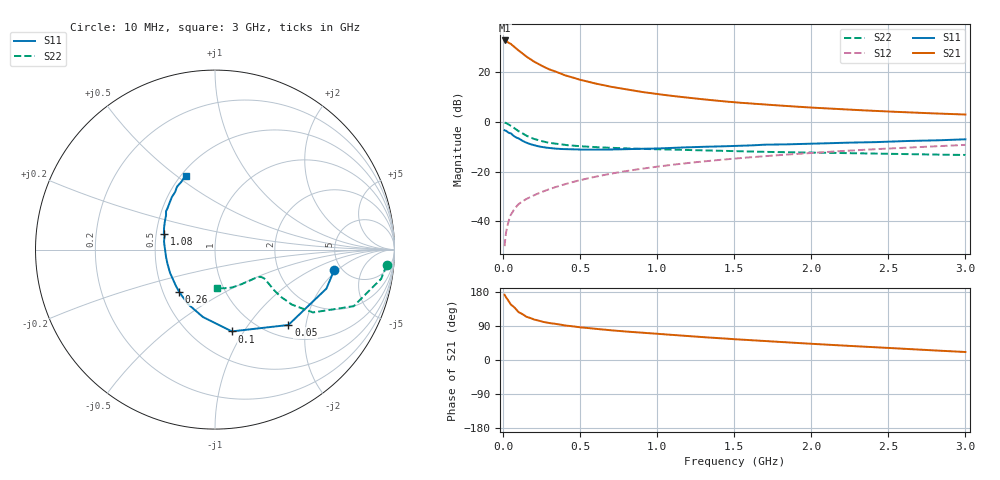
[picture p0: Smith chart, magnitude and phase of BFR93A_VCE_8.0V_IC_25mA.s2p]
! Infineon Technologies  Discrete & RF Semiconductors
! BFR93A
! VCE =  8.0 V,  IC =  25 mA
! Common Emitter S-Parameters:  Nov 2015
# GHz  S  MA  R  50
!  f  S11  S21  S12  S22
! GHz  MAG  ANG  MAG  ANG  MAG  ANG  MAG  ANG
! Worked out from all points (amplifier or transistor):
!   180 points, 10 MHz to 3 GHz, reference 50 ohm
!   highest |S21| = 32.6 dB at 10 MHz (marker M1)
!   |S21| within 3 dB of that: start of sweep to 80.57 MHz
!   unconditionally stable (mu >= 1): 405.8 MHz to 2.652 GHz
!   at 160 MHz: K = 0.71, MSG = 28.2 dB, |S12| = -30.7 dB
!   at 1.22 GHz: K = 1.08, MAG = 11.3 dB, |S12| = -16.4 dB
!   at 3 GHz: K = 0.97, MSG = 6.1 dB, |S12| = -9.3 dB
!   S11 on the Smith chart (normalised r, x): 10 MHz: 4.33, -1.82; 50 MHz: 1.25, -1.60; 100 MHz: 0.76, -0.89; 260 MHz: 0.61, -0.32; 1.08 GHz: 0.55, +0.11; 3 GHz: 0.53, +0.54
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0.01  0.6739 -9.8  42.54 172.0  0.0032 84.4  0.96 -5.1
0.02  0.6576 -19.3  41.49 165.0  0.0062 79.7  0.9398 -10.0
0.05  0.586 -45.8  36.33 146.5  0.0136 71.7  0.8346 -22.2
0.1  0.4654 -78.3  26.93 126.4  0.0222 64.4  0.6479 -32.7
0.15  0.382 -100.0  20.3 114.3  0.0281 63.1  0.5252 -35.6
0.2  0.3392 -116.1  16.08 106.9  0.0334 64.1  0.4528 -35.6
0.24  0.3161 -125.9  13.78 102.7  0.0377 65.0  0.4161 -34.9
0.26  0.3085 -130.2  12.81 100.7  0.0399 65.5  0.401 -34.5
0.3  0.2976 -136.9  11.2 97.5  0.0444 66.6  0.3776 -33.5
0.4  0.2822 -152.5  8.551 91.2  0.0557 68.4  0.3418 -31.7
0.5  0.2763 -163.5  6.924 86.2  0.0673 69.1  0.3223 -30.6
0.52  0.2758 -165.1  6.702 85.5  0.0696 69.1  0.3196 -30.5
0.6  0.2759 -171.7  5.824 82.2  0.079 69.3  0.3089 -30.3
0.7  0.277 -178.4  5.023 78.4  0.0908 69.4  0.2996 -30.7
0.8  0.2819 176.1  4.425 75.0  0.1025 69.2  0.292 -31.4
1.02  0.2922 164.6  3.519 68.4  0.128 67.4  0.2793 -34.0
1.08  0.2978 162.5  3.339 66.6  0.1349 67.0  0.276 -35.0
1.3  0.3143 153.9  2.809 60.3  0.1598 65.1  0.2654 -38.9
1.52  0.3276 147.3  2.426 54.4  0.1842 62.9  0.2554 -43.3
2.02  0.3631 134.2  1.906 42.4  0.2384 57.9  0.24 -55.3
2.52  0.4008 122.6  1.592 31.4  0.2918 52.2  0.2278 -69.3
3  0.4437 111.7  1.393 21.1  0.3432 46.8  0.2158 -86.4
